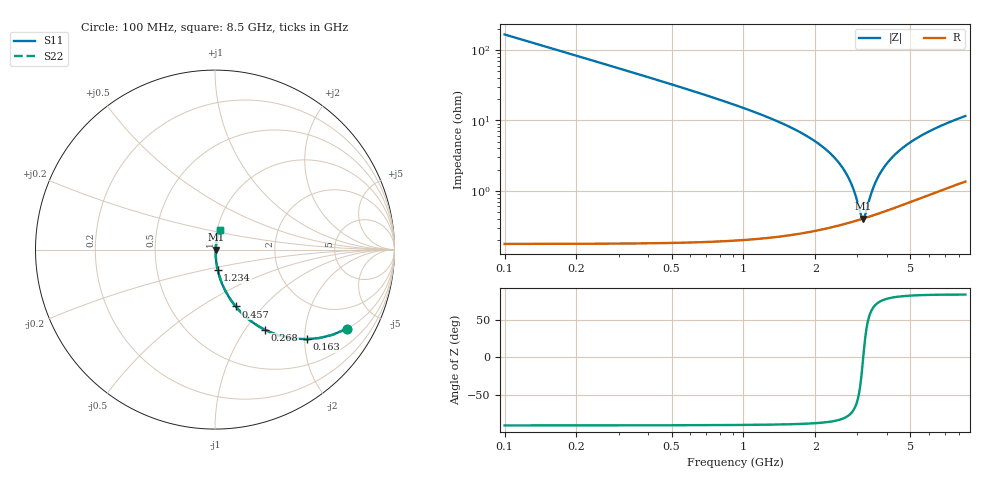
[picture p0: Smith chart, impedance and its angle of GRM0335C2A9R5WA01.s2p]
!Murata Part Number: GRM0335C2A9R5WA01
!These Parameters are Measured in Series Mode Connection
!Data Generated on Mar 30, 2021
!  o--ll--o
!Port1  Port2
!  o------o
!Operation Temp=25[degC], DC Bias Voltage=0[V]
!Freq. Start=100[MHz] Stop=9[GHz] 401[Steps]
# Hz S RI R 50
!Freq.(Hz) S11(Real) S11(Imag) S21(Real) S21(Imag) S12(Real) S12(Imag) S22(Real) S22(Imag)
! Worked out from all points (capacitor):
!   401 points, 100 MHz to 8.5 GHz, reference 50 ohm
!   read as one part in series: C = 9.5 pF near 142 MHz
!   lowest |Z| = 402 mohm at 3.166 GHz (marker M1)
!   series resonance near 3.174 GHz, so ESL is about 260 pH
!   S11 on the Smith chart (normalised r, x): 100 MHz: 1.00, -3.35; 163 MHz: 1.00, -2.05; 268 MHz: 1.00, -1.24; 457 MHz: 1.00, -0.72; 1.234 GHz: 1.00, -0.23; 8.5 GHz: 1.03, +0.23
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1e8  0.7367 -0.4399  0.2633 0.4399  0.2633 0.4399  0.7367 -0.4399
1.63e8  0.5124 -0.499  0.4876 0.499  0.4876 0.499  0.5124 -0.499
2.68e8  0.2786 -0.4469  0.7214 0.4469  0.7214 0.4469  0.2786 -0.4469
3.52e8  0.1819 -0.3839  0.8181 0.3839  0.8181 0.3839  0.1819 -0.3839
4.57e8  0.1153 -0.3169  0.8847 0.3169  0.8847 0.3169  0.1153 -0.3169
7.72e8  0.0416 -0.1952  0.9584 0.1952  0.9584 0.1952  0.0416 -0.1952
1.234e9  0.0151 -0.1131  0.9849 0.1131  0.9849 0.1131  0.0151 -0.1131
1.507e9  0.00956 -0.0849  0.9904 0.0849  0.9904 0.0849  0.00956 -0.0849
2.431e9  0.0039 -0.0281  0.9961 0.0281  0.9961 0.0281  0.0039 -0.0281
2.704e9  0.0037 -0.0167  0.9963 0.0167  0.9963 0.0167  0.0037 -0.0167
2.914e9  0.00375 -0.00888  0.9963 0.00888  0.9963 0.00888  0.00375 -0.00888
3.103e9  0.00392 -0.00234  0.9961 0.00234  0.9961 0.00234  0.00392 -0.00234
3.166e9  0.00399 -0.000252  0.996 0.000252  0.996 0.000252  0.00399 -0.000252
3.229e9  0.00408 0.00179  0.9959 -0.00179  0.9959 -0.00179  0.00408 0.00179
3.46e9  0.00448 0.00894  0.9955 -0.00894  0.9955 -0.00894  0.00448 0.00894
3.649e9  0.00488 0.0144  0.9951 -0.0144  0.9951 -0.0144  0.00488 0.0144
3.922e9  0.00556 0.0219  0.9944 -0.0219  0.9944 -0.0219  0.00556 0.0219
4.3e9  0.00668 0.0316  0.9933 -0.0316  0.9933 -0.0316  0.00668 0.0316
4.909e9  0.00881 0.0457  0.9912 -0.0457  0.9912 -0.0457  0.00881 0.0457
5.707e9  0.0121 0.0624  0.9879 -0.0624  0.9879 -0.0624  0.0121 0.0624
7.114e9  0.0187 0.0882  0.9813 -0.0882  0.9813 -0.0882  0.0187 0.0882
8.5e9  0.0259 0.1106  0.9741 -0.1106  0.9741 -0.1106  0.0259 0.1106
